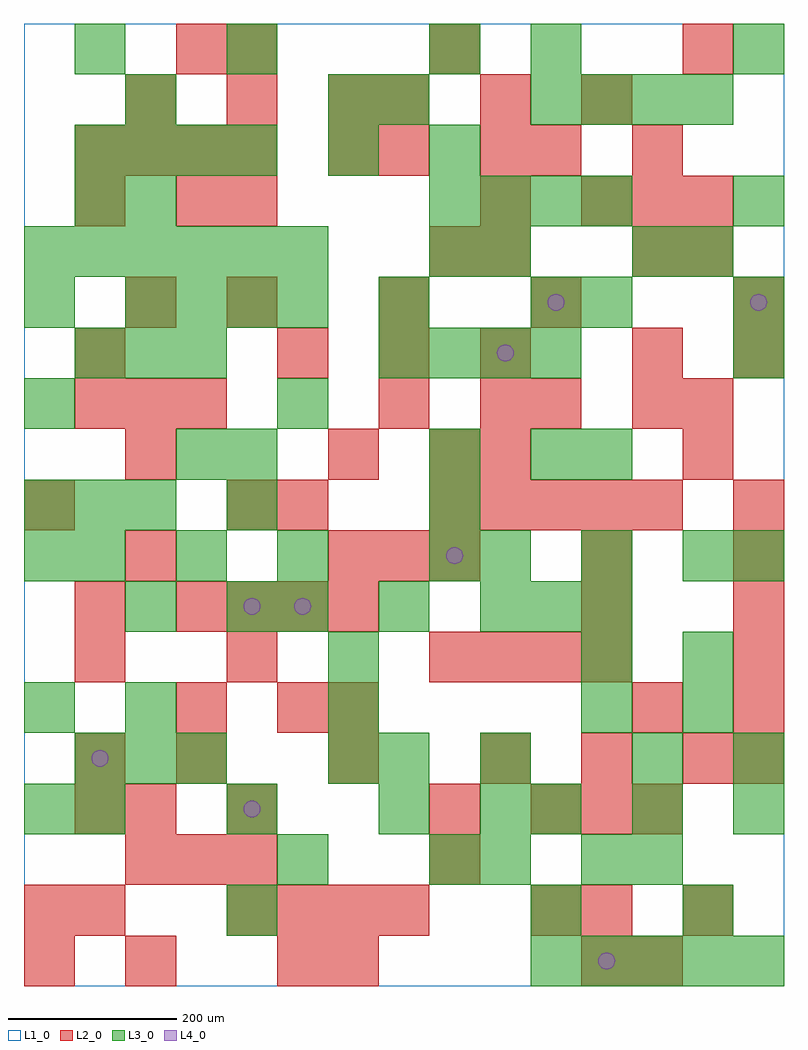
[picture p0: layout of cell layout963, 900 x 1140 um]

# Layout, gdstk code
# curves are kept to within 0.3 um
import gdstk
lib = gdstk.Library(unit=1e-6, precision=1e-09)
def R(c, l, rs):  # rectangles x0, y0, x1, y1
    for r in rs: c.add(gdstk.rectangle(r[:2], r[2:], *l))
def A(c, l, x, y, w, h, nx, ny, dx, dy):  # array of equal rectangles
    R(c, l, [(x+i*dx, y+j*dy, x+i*dx+w, y+j*dy+h) for i in range(nx) for j in range(ny)])
def P(c, l, *ps):  # polygons
    for p in ps: c.add(gdstk.Polygon(p, *l))
L1_0 = (1, 0)
L2_0 = (2, 0)
L3_0 = (3, 0)
L4_0 = (4, 0)

layout963 = lib.new_cell('layout963')
R(layout963, L1_0, [(0,0,900,1140)])
A(layout963, L2_0, 360, 0, 60, 60, 1, 3, 0, 300)
A(layout963, L2_0, 240, 60, 60, 60, 4, 1, 60, 0)
A(layout963, L2_0, 660, 60, 60, 60, 1, 3, 0, 180)
A(layout963, L2_0, 120, 120, 60, 60, 3, 1, 60, 0)
A(layout963, L2_0, 240, 180, 60, 60, 1, 3, 0, 180)
A(layout963, L2_0, 600, 180, 60, 60, 3, 1, 60, 0)
A(layout963, L2_0, 180, 240, 60, 60, 3, 1, 180, 0)
A(layout963, L2_0, 840, 240, 60, 60, 1, 6, 0, 60)
A(layout963, L2_0, 480, 360, 60, 60, 4, 1, 60, 0)
A(layout963, L2_0, 180, 420, 60, 60, 4, 1, 60, 0)
A(layout963, L2_0, 360, 480, 60, 60, 3, 1, 60, 0)
A(layout963, L2_0, 480, 540, 60, 60, 5, 1, 60, 0)
A(layout963, L2_0, 480, 600, 60, 60, 1, 3, 0, 240)
A(layout963, L2_0, 60, 660, 60, 60, 3, 1, 60, 0)
A(layout963, L2_0, 300, 720, 60, 60, 3, 1, 120, 0)
A(layout963, L2_0, 720, 720, 60, 60, 1, 3, 0, 120)
A(layout963, L2_0, 240, 780, 60, 60, 3, 1, 180, 0)
A(layout963, L2_0, 540, 840, 60, 60, 1, 3, 0, 60)
A(layout963, L2_0, 660, 900, 60, 60, 3, 1, 60, 0)
A(layout963, L2_0, 60, 960, 60, 60, 4, 1, 60, 0)
A(layout963, L2_0, 120, 1020, 60, 60, 3, 1, 120, 0)
A(layout963, L2_0, 420, 1020, 60, 60, 3, 1, 120, 0)
R(layout963, L2_0, [(0,0,60,60), (120,0,180,60), (300,0,360,60), (660,0,720,60), (720,0,780,60), (0,60,60,120), (60,60,120,120), (600,60,660,120), (780,60,840,120), (480,120,540,180), (60,180,120,240), (120,180,180,240), (480,180,540,240), (60,240,120,300), (780,240,840,300), (180,300,240,360), (300,300,360,360), (720,300,780,360), (60,360,120,420), (60,420,120,480), (120,480,180,540), (660,480,720,540), (0,540,60,600), (300,540,360,600), (120,600,180,660), (540,600,600,660), (780,600,840,660), (420,660,480,720), (540,660,600,720), (600,660,660,720), (720,660,780,720), (780,660,840,720), (60,720,120,780), (840,720,900,780), (120,780,180,840), (840,780,900,840), (780,840,840,900), (60,900,120,960), (180,900,240,960), (240,900,300,960), (360,960,420,1020), (420,960,480,1020), (600,960,660,1020), (180,1080,240,1140), (240,1080,300,1140), (780,1080,840,1140)])
A(layout963, L3_0, 600, 0, 60, 60, 5, 1, 60, 0)
A(layout963, L3_0, 540, 120, 60, 60, 1, 3, 0, 60)
A(layout963, L3_0, 60, 180, 60, 60, 3, 1, 180, 0)
A(layout963, L3_0, 600, 180, 60, 60, 3, 1, 120, 0)
A(layout963, L3_0, 60, 240, 60, 60, 3, 2, 60, 480)
A(layout963, L3_0, 360, 240, 60, 60, 1, 3, 0, 60)
A(layout963, L3_0, 840, 240, 60, 60, 1, 3, 0, 240)
A(layout963, L3_0, 0, 300, 60, 60, 1, 3, 0, 180)
A(layout963, L3_0, 660, 300, 60, 60, 1, 3, 0, 60)
A(layout963, L3_0, 300, 420, 60, 60, 3, 1, 120, 0)
A(layout963, L3_0, 600, 420, 60, 60, 1, 3, 0, 180)
A(layout963, L3_0, 60, 480, 60, 60, 3, 1, 120, 0)
A(layout963, L3_0, 480, 480, 60, 60, 1, 3, 0, 60)
A(layout963, L3_0, 540, 480, 60, 60, 3, 1, 120, 0)
A(layout963, L3_0, 0, 540, 60, 60, 3, 1, 60, 0)
A(layout963, L3_0, 420, 720, 60, 60, 4, 1, 60, 0)
A(layout963, L3_0, 120, 780, 60, 60, 4, 1, 60, 0)
A(layout963, L3_0, 0, 840, 60, 60, 6, 1, 60, 0)
A(layout963, L3_0, 480, 840, 60, 60, 1, 3, 0, 120)
A(layout963, L3_0, 480, 900, 60, 60, 4, 1, 60, 0)
A(layout963, L3_0, 60, 960, 60, 60, 4, 1, 60, 0)
A(layout963, L3_0, 600, 1020, 60, 60, 4, 1, 60, 0)
R(layout963, L3_0, [(240,60,300,120), (600,60,660,120), (780,60,840,120), (300,120,360,180), (480,120,540,180), (660,120,720,180), (720,120,780,180), (0,180,60,240), (420,240,480,300), (720,240,780,300), (120,300,180,360), (780,300,840,360), (780,360,840,420), (120,420,180,480), (240,420,300,480), (240,540,300,600), (180,600,240,660), (240,600,300,660), (660,600,720,660), (300,660,360,720), (0,780,60,840), (420,780,480,840), (660,780,720,840), (840,780,900,840), (540,840,600,900), (720,840,780,900), (780,840,840,900), (60,900,120,960), (120,900,180,960), (840,900,900,960), (360,960,420,1020), (120,1020,180,1080), (360,1020,420,1080), (420,1020,480,1080), (60,1080,120,1140), (240,1080,300,1140), (600,1080,660,1140), (840,1080,900,1140)])
P(layout963, L4_0, [(100,270),(99.239,273.827),(97.071,277.071),(93.827,279.239),(90,280),(86.173,279.239),(82.929,277.071),(80.761,273.827),(80,270),(80.761,266.173),(82.929,262.929),(86.173,260.761),(90,260),(93.827,260.761),(97.071,262.929),(99.239,266.173)],
  [(280,210),(279.239,213.827),(277.071,217.071),(273.827,219.239),(270,220),(266.173,219.239),(262.929,217.071),(260.761,213.827),(260,210),(260.761,206.173),(262.929,202.929),(266.173,200.761),(270,200),(273.827,200.761),(277.071,202.929),(279.239,206.173)],
  [(280,450),(279.239,453.827),(277.071,457.071),(273.827,459.239),(270,460),(266.173,459.239),(262.929,457.071),(260.761,453.827),(260,450),(260.761,446.173),(262.929,442.929),(266.173,440.761),(270,440),(273.827,440.761),(277.071,442.929),(279.239,446.173)],
  [(340,450),(339.239,453.827),(337.071,457.071),(333.827,459.239),(330,460),(326.173,459.239),(322.929,457.071),(320.761,453.827),(320,450),(320.761,446.173),(322.929,442.929),(326.173,440.761),(330,440),(333.827,440.761),(337.071,442.929),(339.239,446.173)],
  [(520,510),(519.239,513.827),(517.071,517.071),(513.827,519.239),(510,520),(506.173,519.239),(502.929,517.071),(500.761,513.827),(500,510),(500.761,506.173),(502.929,502.929),(506.173,500.761),(510,500),(513.827,500.761),(517.071,502.929),(519.239,506.173)],
  [(580,750),(579.239,753.827),(577.071,757.071),(573.827,759.239),(570,760),(566.173,759.239),(562.929,757.071),(560.761,753.827),(560,750),(560.761,746.173),(562.929,742.929),(566.173,740.761),(570,740),(573.827,740.761),(577.071,742.929),(579.239,746.173)],
  [(640,810),(639.239,813.827),(637.071,817.071),(633.827,819.239),(630,820),(626.173,819.239),(622.929,817.071),(620.761,813.827),(620,810),(620.761,806.173),(622.929,802.929),(626.173,800.761),(630,800),(633.827,800.761),(637.071,802.929),(639.239,806.173)],
  [(700,30),(699.239,33.827),(697.071,37.071),(693.827,39.239),(690,40),(686.173,39.239),(682.929,37.071),(680.761,33.827),(680,30),(680.761,26.173),(682.929,22.929),(686.173,20.761),(690,20),(693.827,20.761),(697.071,22.929),(699.239,26.173)],
  [(880,810),(879.239,813.827),(877.071,817.071),(873.827,819.239),(870,820),(866.173,819.239),(862.929,817.071),(860.761,813.827),(860,810),(860.761,806.173),(862.929,802.929),(866.173,800.761),(870,800),(873.827,800.761),(877.071,802.929),(879.239,806.173)])

lib.write_gds('layout963.gds')
